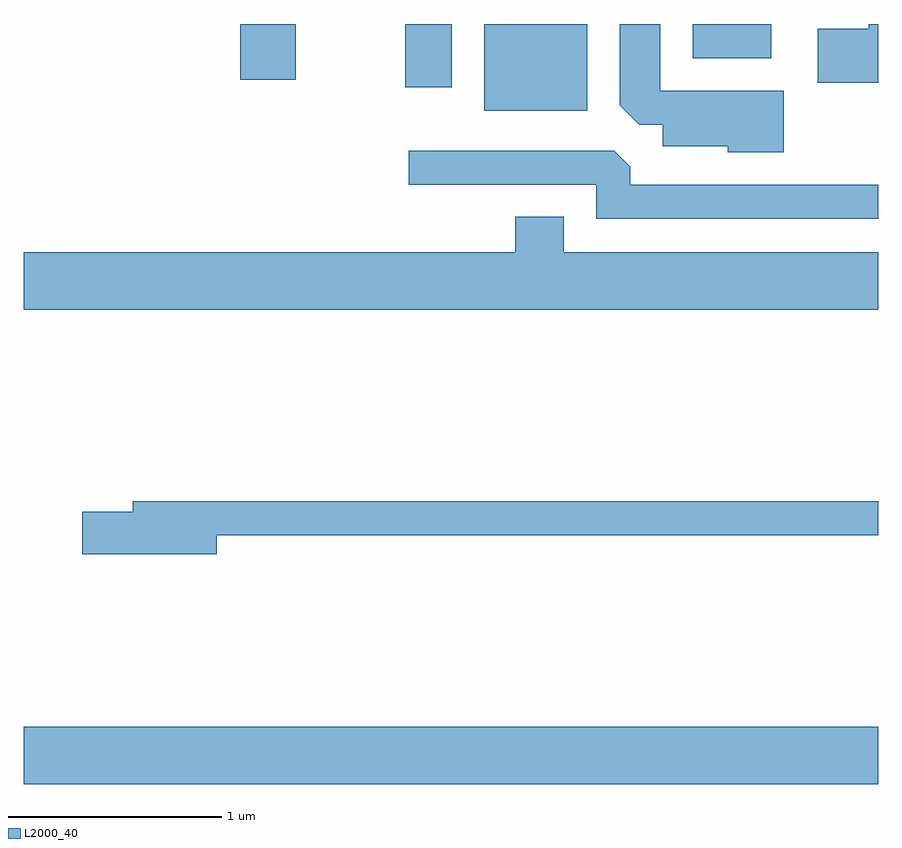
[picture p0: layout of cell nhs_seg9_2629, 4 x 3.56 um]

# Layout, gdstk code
import gdstk
lib = gdstk.Library(unit=1e-6, precision=1e-09)
def R(c, l, rs):  # rectangles x0, y0, x1, y1
    for r in rs: c.add(gdstk.rectangle(r[:2], r[2:], *l))
def P(c, l, *ps):  # polygons
    for p in ps: c.add(gdstk.Polygon(p, *l))
L2000_40 = (2000, 40)

nhs_seg9_2629 = lib.new_cell('nhs_seg9_2629')
R(nhs_seg9_2629, L2000_40, [(261.611,2042.876,265.611,2043.144), (263.766,2046.026,264.249,2046.432), (263.396,2046.136,263.614,2046.432), (262.626,2046.171,262.884,2046.432), (264.741,2046.271,265.109,2046.432)])
P(nhs_seg9_2629, L2000_40, [(265.169,2046.119),(264.589,2046.119),(264.589,2046.432),(264.401,2046.432),(264.401,2046.052),(264.492,2045.961),(264.601,2045.961),(264.601,2045.861),(264.906,2045.861),(264.906,2045.831),(265.169,2045.831)],
  [(265.611,2046.432),(265.566,2046.432),(265.566,2046.409),(265.326,2046.409),(265.326,2046.156),(265.611,2046.156)],
  [(265.611,2045.679),(264.449,2045.679),(264.449,2045.764),(264.374,2045.839),(263.413,2045.839),(263.413,2045.681),(264.291,2045.681),(264.291,2045.521),(265.611,2045.521)],
  [(265.611,2045.364),(264.139,2045.364),(264.139,2045.529),(263.911,2045.529),(263.911,2045.364),(261.611,2045.364),(261.611,2045.096),(265.611,2045.096)],
  [(262.514,2044.041),(265.611,2044.041),(265.611,2044.199),(262.121,2044.199),(262.121,2044.149),(261.886,2044.149),(261.886,2043.951),(262.514,2043.951)])

lib.write_gds('nhs_seg9_2629.gds')
